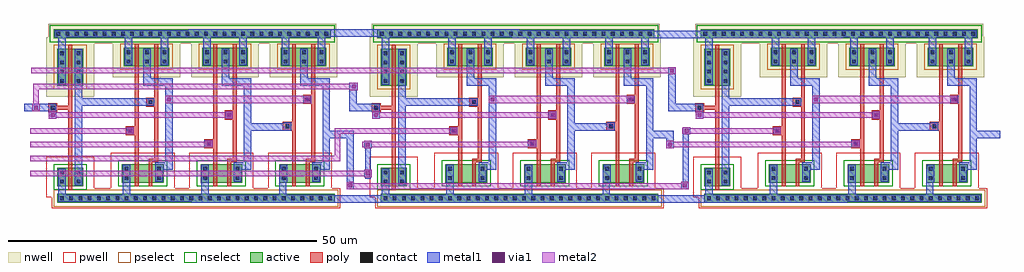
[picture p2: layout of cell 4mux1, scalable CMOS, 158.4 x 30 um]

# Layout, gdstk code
import gdstk
lib = gdstk.Library(unit=1e-6, precision=1e-09)
def R(c, l, rs):  # rectangles x0, y0, x1, y1
    for r in rs: c.add(gdstk.rectangle(r[:2], r[2:], *l))
def A(c, l, x, y, w, h, nx, ny, dx, dy):  # array of equal rectangles
    R(c, l, [(x+i*dx, y+j*dy, x+i*dx+w, y+j*dy+h) for i in range(nx) for j in range(ny)])
contact = (25, 0)
pwell = (41, 0)
nwell = (42, 0)
active = (43, 0)
pselect = (44, 0)
nselect = (45, 0)
poly = (46, 0)
metal1 = (49, 0)
via1 = (50, 0)
metal2 = (51, 0)

c_2mux1 = lib.new_cell('2mux1')
A(c_2mux1, contact, -28.2, 1.35, 0.6, 0.6, 30, 1, 1.5, 0)
A(c_2mux1, contact, -28.2, 20.4, 0.6, 0.6, 1, 4, 0, 1.5)
A(c_2mux1, contact, -25.5, 20.4, 0.6, 0.6, 1, 4, 0, 1.5)
A(c_2mux1, contact, -28.8, 28.05, 0.6, 0.6, 30, 1, 1.5, 0)
R(c_2mux1, contact, [(-28.2,4.05,-27.6,4.65), (-25.5,4.05,-24.9,4.65), (-17.7,4.65,-17.1,5.25), (-12.45,4.65,-11.85,5.25), (-4.95,4.65,-4.35,5.25), (0.3,4.65,0.9,5.25), (7.8,4.65,8.4,5.25), (13.05,4.65,13.65,5.25), (-28.2,5.55,-27.6,6.15), (-25.5,5.55,-24.9,6.15), (-17.7,6.15,-17.1,6.75), (-12.45,6.15,-11.85,6.75), (-4.95,6.15,-4.35,6.75), (0.3,6.15,0.9,6.75), (7.8,6.15,8.4,6.75), (13.05,6.15,13.65,6.75), (-4.35,10.2,-3.75,10.8), (-17.1,12.3,-16.5,12.9), (8.4,13.05,9,13.65), (-1.05,14.85,-0.45,15.45), (-29.7,16.05,-29.1,16.65), (-13.8,16.95,-13.2,17.55), (11.7,17.4,12.3,18), (-17.4,23.55,-16.8,24.15), (-14.4,23.55,-13.8,24.15), (-11.55,23.55,-10.95,24.15), (-4.65,23.55,-4.05,24.15), (-1.65,23.55,-1.05,24.15), (1.2,23.55,1.8,24.15), (8.1,23.55,8.7,24.15), (11.1,23.55,11.7,24.15), (13.95,23.55,14.55,24.15), (-17.4,25.05,-16.8,25.65), (-14.4,25.05,-13.8,25.65), (-11.55,25.05,-10.95,25.65), (-4.65,25.05,-4.05,25.65), (-1.65,25.05,-1.05,25.65), (1.2,25.05,1.8,25.65), (8.1,25.05,8.7,25.65), (11.1,25.05,11.7,25.65), (13.95,25.05,14.55,25.65)])
A(c_2mux1, pwell, -19.65, 3.15, 5.025, 4.5, 3, 1, 12.75, 0)
A(c_2mux1, pwell, -14.625, 3.45, 4.725, 4.5, 3, 1, 12.75, 0)
A(c_2mux1, pwell, -16.875, 3.6, 4.5, 4.5, 3, 1, 12.75, 0)
R(c_2mux1, pwell, [(-29.55,0,17.25,3.3), (-30.45,1.8,-25.35,8.4), (-29.55,1.8,-23.55,8.4), (-27.75,1.8,-22.65,8.4), (-19.95,2.4,-14.85,9), (-18.75,2.4,-12.75,9), (-16.5,2.4,-10.5,9), (-14.7,2.4,-9.6,9), (-7.2,2.4,-2.1,9), (-6,2.4,0,9), (-3.75,2.4,2.25,9), (-1.95,2.4,3.15,9), (5.55,2.4,10.65,9), (6.75,2.4,12.75,9), (9,2.4,15,9), (10.8,2.4,15.9,9), (-30.15,2.85,-25.425,7.35), (-27.675,2.85,-22.95,7.35)])
A(c_2mux1, nwell, -16.875, 23.1, 5.175, 4.5, 3, 1, 12.75, 0)
A(c_2mux1, nwell, -13.725, 23.1, 4.875, 4.5, 3, 1, 12.75, 0)
R(c_2mux1, nwell, [(-30.45,18.15,-25.35,27.75), (-29.55,18.15,-23.55,27.75), (-27.75,18.15,-22.65,27.75), (-30.15,20.7,-25.425,25.2), (-27.675,20.7,-22.95,25.2), (-19.65,21.3,-14.55,27.9), (-18.75,21.3,-12.75,27.9), (-16.65,21.3,-11.55,27.9), (-15.6,21.3,-9.6,27.9), (-13.8,21.3,-8.7,27.9), (-6.9,21.3,-1.8,27.9), (-6,21.3,0,27.9), (-3.9,21.3,1.2,27.9), (-2.85,21.3,3.15,27.9), (-1.05,21.3,4.05,27.9), (5.85,21.3,10.95,27.9), (6.75,21.3,12.75,27.9), (8.85,21.3,13.95,27.9), (9.9,21.3,15.9,27.9), (11.7,21.3,16.8,27.9), (-19.35,23.1,-14.625,27.6), (-16.2,23.1,-11.475,27.6), (-6.6,23.1,-1.875,27.6), (-3.45,23.1,1.275,27.6), (6.15,23.1,10.875,27.6), (9.3,23.1,14.025,27.6), (-30.15,26.7,16.65,30)])
A(c_2mux1, active, -17.85, 4.95, 1.425, 0.9, 3, 1, 12.75, 0)
A(c_2mux1, active, -12.825, 5.25, 1.125, 0.9, 3, 1, 12.75, 0)
A(c_2mux1, active, -15.075, 5.4, 0.9, 0.9, 3, 1, 12.75, 0)
A(c_2mux1, active, -15.075, 24.9, 1.575, 0.9, 3, 1, 12.75, 0)
A(c_2mux1, active, -11.925, 24.9, 1.275, 0.9, 3, 1, 12.75, 0)
R(c_2mux1, active, [(-28.65,0.9,16.35,2.4), (-28.65,3.6,-27.15,6.6), (-27.75,3.6,-25.35,6.6), (-25.95,3.6,-24.45,6.6), (-18.15,4.2,-16.65,7.2), (-16.95,4.2,-14.55,7.2), (-14.7,4.2,-12.3,7.2), (-12.9,4.2,-11.4,7.2), (-5.4,4.2,-3.9,7.2), (-4.2,4.2,-1.8,7.2), (-1.95,4.2,0.45,7.2), (-0.15,4.2,1.35,7.2), (7.35,4.2,8.85,7.2), (8.55,4.2,10.95,7.2), (10.8,4.2,13.2,7.2), (12.6,4.2,14.1,7.2), (-28.35,4.65,-27.225,5.55), (-25.875,4.65,-24.75,5.55), (-28.65,19.95,-27.15,25.95), (-27.75,19.95,-25.35,25.95), (-25.95,19.95,-24.45,25.95), (-28.35,22.5,-27.225,23.4), (-25.875,22.5,-24.75,23.4), (-17.85,23.1,-16.35,26.1), (-16.95,23.1,-14.55,26.1), (-14.85,23.1,-13.35,26.1), (-13.8,23.1,-11.4,26.1), (-12,23.1,-10.5,26.1), (-5.1,23.1,-3.6,26.1), (-4.2,23.1,-1.8,26.1), (-2.1,23.1,-0.6,26.1), (-1.05,23.1,1.35,26.1), (0.75,23.1,2.25,26.1), (7.65,23.1,9.15,26.1), (8.55,23.1,10.95,26.1), (10.65,23.1,12.15,26.1), (11.7,23.1,14.1,26.1), (13.5,23.1,15,26.1), (-17.55,24.9,-16.425,25.8), (-14.4,24.9,-13.275,25.8), (-4.8,24.9,-3.675,25.8), (-1.65,24.9,-0.525,25.8), (7.95,24.9,9.075,25.8), (11.1,24.9,12.225,25.8), (-29.25,27.6,15.75,29.1)])
A(c_2mux1, pselect, -15.675, 24.3, 2.775, 2.1, 3, 1, 12.75, 0)
A(c_2mux1, pselect, -12.525, 24.3, 2.475, 2.1, 3, 1, 12.75, 0)
R(c_2mux1, pselect, [(-29.25,0.3,16.95,3), (-29.25,19.35,-26.55,26.55), (-28.35,19.35,-24.75,26.55), (-26.55,19.35,-23.85,26.55), (-28.95,21.9,-26.625,24), (-26.475,21.9,-24.15,24), (-18.45,22.5,-15.75,26.7), (-17.55,22.5,-13.95,26.7), (-15.45,22.5,-12.75,26.7), (-14.4,22.5,-10.8,26.7), (-12.6,22.5,-9.9,26.7), (-5.7,22.5,-3,26.7), (-4.8,22.5,-1.2,26.7), (-2.7,22.5,0,26.7), (-1.65,22.5,1.95,26.7), (0.15,22.5,2.85,26.7), (7.05,22.5,9.75,26.7), (7.95,22.5,11.55,26.7), (10.05,22.5,12.75,26.7), (11.1,22.5,14.7,26.7), (12.9,22.5,15.6,26.7), (-18.15,24.3,-15.825,26.4), (-15,24.3,-12.675,26.4), (-5.4,24.3,-3.075,26.4), (-2.25,24.3,0.075,26.4), (7.35,24.3,9.675,26.4), (10.5,24.3,12.825,26.4)])
A(c_2mux1, nselect, -18.45, 4.35, 2.625, 2.1, 3, 1, 12.75, 0)
A(c_2mux1, nselect, -13.425, 4.65, 2.325, 2.1, 3, 1, 12.75, 0)
A(c_2mux1, nselect, -15.675, 4.8, 2.1, 2.1, 3, 1, 12.75, 0)
R(c_2mux1, nselect, [(-29.25,3,-26.55,7.2), (-28.35,3,-24.75,7.2), (-26.55,3,-23.85,7.2), (-18.75,3.6,-16.05,7.8), (-17.55,3.6,-13.95,7.8), (-15.3,3.6,-11.7,7.8), (-13.5,3.6,-10.8,7.8), (-6,3.6,-3.3,7.8), (-4.8,3.6,-1.2,7.8), (-2.55,3.6,1.05,7.8), (-0.75,3.6,1.95,7.8), (6.75,3.6,9.45,7.8), (7.95,3.6,11.55,7.8), (10.2,3.6,13.8,7.8), (12,3.6,14.7,7.8), (-28.95,4.05,-26.625,6.15), (-26.475,4.05,-24.15,6.15), (-29.85,27,16.35,29.7)])
A(c_2mux1, poly, -13.8, 7.5, 1.5, 0.6, 3, 1, 12.75, 0)
R(c_2mux1, poly, [(-26.85,3,-26.25,7.2), (-16.05,3.6,-15.45,7.8), (-13.8,3.6,-13.2,7.8), (-3.3,3.6,-2.7,7.8), (-1.05,3.6,-0.45,7.8), (9.45,3.6,10.05,7.8), (11.7,3.6,12.3,7.8), (-26.85,6.9,-26.25,7.5), (-26.85,6.9,-26.25,16.65), (-16.05,7.5,-15.45,12.75), (-12.9,7.5,-12.3,17.4), (-3.3,7.5,-2.7,10.65), (-0.15,7.5,0.45,15.45), (9.45,7.5,10.05,13.5), (12.6,7.5,13.2,18.15), (-4.8,9.75,-3.3,11.25), (-4.5,10.05,-2.7,10.65), (-3.3,10.05,-2.7,22.8), (-17.55,11.85,-16.05,13.35), (-17.25,12.15,-15.45,12.75), (-16.05,12.15,-15.45,22.8), (7.95,12.6,9.45,14.1), (8.25,12.9,10.05,13.5), (9.45,12.9,10.05,22.8), (-1.5,14.4,0,15.9), (-1.05,14.85,0.45,15.45), (-0.15,14.85,0.45,22.8), (-30.15,15.6,-28.65,17.1), (-29.7,16.05,-26.25,16.65), (-26.85,16.05,-26.25,19.65), (-14.25,16.5,-12.75,18), (-13.8,16.8,-12.3,17.4), (-12.9,16.8,-12.3,22.8), (11.25,16.95,12.75,18.45), (11.7,17.55,13.2,18.15), (12.6,17.55,13.2,22.8), (-26.85,19.35,-26.25,26.55), (-16.05,22.5,-15.45,26.7), (-12.9,22.5,-12.3,26.7), (-3.3,22.5,-2.7,26.7), (-0.15,22.5,0.45,26.7), (9.45,22.5,10.05,26.7), (12.6,22.5,13.2,26.7)])
A(c_2mux1, metal1, -12.75, 5.1, 1.2, 2.4, 3, 1, 12.75, 0)
A(c_2mux1, metal1, -12.75, 6.3, 2.85, 1.2, 3, 2, 12.75, 13.65)
A(c_2mux1, metal1, -14.7, 19.95, 3.15, 1.2, 3, 1, 12.75, 0)
A(c_2mux1, metal1, -14.7, 19.95, 1.2, 6, 3, 1, 12.75, 0)
R(c_2mux1, metal1, [(-28.5,1.05,16.2,2.25), (-28.5,1.05,-27.3,5.7), (-18,1.05,-16.8,6.3), (-5.25,1.05,-4.05,6.3), (7.35,1.05,8.55,6.3), (-28.5,3.75,-27.3,6.45), (-25.8,3.75,-24.6,6.45), (-18,4.35,-16.8,7.05), (-12.75,4.35,-11.55,7.05), (-5.25,4.35,-4.05,7.05), (0,4.35,1.2,7.05), (7.5,4.35,8.7,7.05), (12.75,4.35,13.95,7.05), (-25.8,4.5,-24.6,17.85), (-11.1,6.3,-9.9,18), (1.65,6.3,2.85,13.8), (14.4,6.3,15.6,12.6), (-4.8,9.9,-3.45,11.1), (-4.65,9.9,-3.45,11.1), (-4.65,9.9,-3.45,11.1), (14.4,11.4,17.25,12.6), (14.4,11.4,15.6,21.15), (-17.4,12,-16.2,13.2), (-17.4,12,-16.2,13.2), (-17.25,12,-16.35,13.05), (1.65,12.6,2.85,21.15), (1.65,12.6,4.95,13.8), (3.75,12.6,9.3,13.8), (8.1,12.6,9.3,13.95), (8.1,12.75,9.3,13.95), (-30,14.55,-28.8,15.75), (-30,14.55,-28.8,16.95), (-1.35,14.55,-0.15,15.75), (-1.35,14.55,-0.15,15.75), (-1.2,14.7,-0.3,15.6), (-31.65,15.75,-28.8,16.95), (-30,15.75,-28.8,16.95), (-25.8,16.65,-24.6,23.55), (-25.8,16.65,-12.9,17.85), (-14.1,16.65,-12.9,17.85), (-11.1,16.8,-9.9,21.15), (-11.1,17.1,-9.9,18.3), (11.25,17.1,12.45,18.3), (11.25,17.1,12.45,18.3), (11.25,17.1,12.6,18.3), (11.25,17.1,12.6,18.3), (11.4,17.1,12.6,18.3), (-28.5,20.1,-27.3,25.8), (-25.8,20.1,-24.6,25.8), (-28.5,22.35,-27.3,28.95), (-17.7,23.25,-16.5,25.95), (-14.7,23.25,-13.5,25.95), (-11.85,23.25,-10.65,25.95), (-4.95,23.25,-3.75,25.95), (-1.95,23.25,-0.75,25.95), (0.9,23.25,2.1,25.95), (7.8,23.25,9,25.95), (10.8,23.25,12,25.95), (13.65,23.25,14.85,25.95), (-17.7,24,-16.5,28.95), (-11.85,24,-10.65,28.95), (-4.95,24,-3.75,28.95), (0.9,24,2.1,28.95), (7.8,24,9,28.95), (13.65,24,14.85,28.95), (-29.1,27.75,15.6,28.95), (-2.4,27.75,2.1,28.95)])
R(c_2mux1, via1, [(-4.35,10.2,-3.75,10.8), (-17.1,12.3,-16.5,12.9), (-29.7,14.85,-29.1,15.45), (-1.05,14.85,-0.45,15.45), (-10.8,17.4,-10.2,18), (11.55,17.4,12.15,18), (11.55,17.4,12.15,18)])
R(c_2mux1, metal2, [(-31.65,9.9,-3.75,10.8), (-4.65,9.9,-3.45,11.1), (-4.65,9.9,-3.75,10.95), (-17.4,12,-16.2,13.2), (-31.65,12.15,-18.3,13.05), (-19.2,12.15,-16.35,13.05), (-30,14.55,-28.8,15.75), (-1.35,14.55,-0.15,15.75), (-29.85,14.7,-5.25,15.6), (-6.15,14.7,-0.3,15.6), (-11.1,17.1,-9.9,18.3), (-11.1,17.1,-6.15,18.3), (-7.35,17.1,12.45,18.3), (11.25,17.1,12.45,18.3), (11.25,17.1,12.45,18.3), (11.25,17.1,12.45,18.3)])

c_4mux1 = lib.new_cell('4mux1')
R(c_4mux1, metal1, [(-52.65,0.9,1.05,2.1), (-0.15,0.9,53.55,2.1), (-27.6,3.15,-26.4,4.35), (26.7,3.15,27.9,4.35), (-27.6,3.45,-26.4,12.6), (-27.6,3.45,-26.4,5.1), (27,3.6,27.9,7.65), (-24.6,4.8,-23.7,7.2), (-24.6,4.8,-23.7,6.15), (-24.75,5.1,-23.55,6.3), (-24.6,6.3,-23.7,10.8), (27,6.75,27.9,13.05), (-24.75,9.75,-23.55,10.95), (24.3,9.75,25.5,10.95), (24.3,9.75,25.5,12.6), (-29.85,11.4,-26.4,12.6), (22.65,11.4,25.5,12.6), (75.15,11.4,78.45,12.6), (27,12,28.2,13.2), (-79.95,15.75,-77.4,16.95), (-78.6,15.75,-77.4,16.95), (-78.6,15.75,-76.35,16.95), (-27.15,15.75,-25.95,20.4), (-27.15,15.75,-23.85,16.95), (24.6,15.75,28.65,16.95), (24.6,15.75,25.8,22.95), (-27,19.2,-25.8,20.4), (24.6,21.75,25.8,22.95), (-0.75,27.6,52.95,28.8), (-53.25,27.9,0.45,29.1)])
R(c_4mux1, via1, [(-27.3,3.45,-26.7,4.05), (27,3.45,27.6,4.05), (-24.45,5.4,-23.85,6), (-24.45,10.05,-23.85,10.65), (24.6,10.05,25.2,10.65), (27.3,12.3,27.9,12.9), (-78.3,16.05,-77.7,16.65), (-26.7,19.5,-26.1,20.1), (24.9,22.05,25.5,22.65)])
R(c_4mux1, metal2, [(-27.6,3.15,-26.4,4.35), (-27.45,3.15,-24.3,4.05), (-25.2,3.15,27.75,4.05), (26.7,3.15,27.9,4.35), (-24.75,5.1,-23.55,6.3), (-78.9,5.25,-26.55,6.15), (-27.45,5.25,-23.7,6.15), (-78.9,7.65,-28.65,8.55), (-29.55,7.65,-28.65,13.05), (-24.75,9.75,-23.55,10.95), (24.3,9.75,25.5,10.95), (-78.9,9.9,-76.65,10.8), (-25.05,9.9,-23.7,10.8), (24.45,9.9,28.35,10.8), (27,12,28.2,13.2), (-78.9,12.15,-76.65,13.05), (-29.55,12.15,-24.15,13.05), (26.85,12.15,28.35,13.05), (-78.6,15.75,-77.4,16.95), (-78.45,15.9,-77.55,20.25), (-27,19.2,-25.8,20.4), (-78.45,19.35,-25.95,20.25), (24.6,21.75,25.8,22.95), (-78.75,21.9,-24.3,22.8), (-25.2,21.9,25.65,22.8)])
c_4mux1.add(gdstk.Reference(c_2mux1, (-45.9,0)))
c_4mux1.add(gdstk.Reference(c_2mux1, (6.6,0)))
c_4mux1.add(gdstk.Reference(c_2mux1, (59.1,0)))

lib.write_gds('4mux1.gds')
